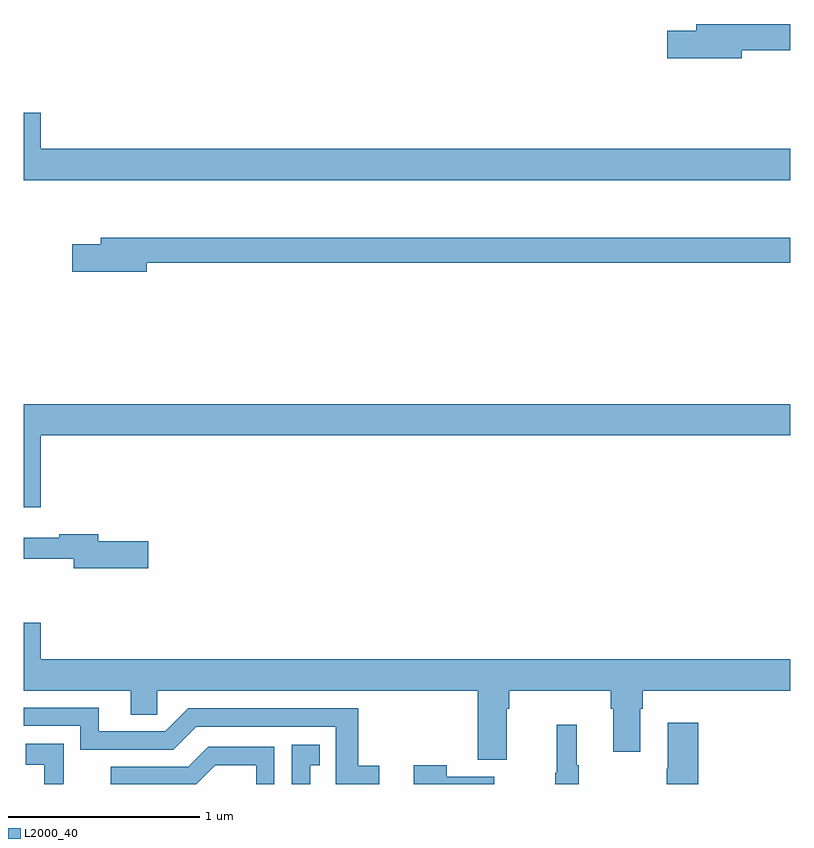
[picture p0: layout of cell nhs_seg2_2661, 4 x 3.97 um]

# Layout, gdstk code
import gdstk
lib = gdstk.Library(unit=1e-6, precision=1e-09)
def P(c, l, *ps):  # polygons
    for p in ps: c.add(gdstk.Polygon(p, *l))
L2000_40 = (2000, 40)

nhs_seg2_2661 = lib.new_cell('nhs_seg2_2661')
P(nhs_seg2_2661, L2000_40, [(252.748,665.632),(253,665.632),(253,665.768),(252.509,665.768),(252.509,665.732),(252.36,665.732),(252.36,665.59),(252.748,665.59)],
  [(253,665.116),(249.088,665.116),(249.088,665.305),(249,665.305),(249,664.952),(253,664.952)],
  [(249.64,664.522),(253,664.522),(253,664.651),(249.401,664.651),(249.401,664.617),(249.252,664.617),(249.252,664.475),(249.64,664.475)],
  [(249.088,663.62),(253,663.62),(253,663.784),(249,663.784),(249,663.246),(249.088,663.246)],
  [(249.649,663.068),(249.388,663.068),(249.388,663.104),(249.184,663.104),(249.184,663.085),(249,663.085),(249,662.976),(249.26,662.976),(249.26,662.926),(249.649,662.926)],
  [(251.521,662.192),(251.534,662.192),(251.534,662.288),(252.065,662.288),(252.065,662.192),(252.077,662.192),(252.077,661.968),(252.217,661.968),(252.217,662.192),(252.23,662.192),(252.23,662.288),(253,662.288),(253,662.452),(249.088,662.452),(249.088,662.641),(249,662.641),(249,662.288),(249.557,662.288),(249.557,662.161),(249.696,662.161),(249.696,662.288),(251.369,662.288),(251.369,661.926),(251.521,661.926)],
  [(250.856,661.894),(250.745,661.894),(250.745,662.196),(249.858,662.196),(249.738,662.076),(249.391,662.076),(249.391,662.199),(249,662.199),(249,662.103),(249.294,662.103),(249.294,661.98),(249.78,661.98),(249.9,662.1),(250.629,662.1),(250.629,661.8),(250.856,661.8)],
  [(252.521,662.119),(252.362,662.119),(252.362,661.88),(252.355,661.88),(252.355,661.8),(252.521,661.8)],
  [(251.896,661.897),(251.885,661.897),(251.885,662.11),(251.782,662.11),(251.782,661.86),(251.775,661.86),(251.775,661.8),(251.896,661.8)],
  [(249.206,661.805),(249.207,661.805),(249.207,662.011),(249.009,662.011),(249.009,661.901),(249.107,661.901),(249.107,661.8),(249.206,661.8)],
  [(250.495,661.899),(250.544,661.899),(250.544,662.005),(250.398,662.005),(250.398,661.8),(250.495,661.8)],
  [(249.998,661.898),(250.212,661.898),(250.212,661.8),(250.308,661.8),(250.308,661.995),(249.962,661.995),(249.857,661.89),(249.454,661.89),(249.454,661.8),(249.9,661.8)],
  [(251.455,661.837),(251.207,661.837),(251.207,661.897),(251.036,661.897),(251.036,661.8),(251.455,661.8)])

lib.write_gds('nhs_seg2_2661.gds')
